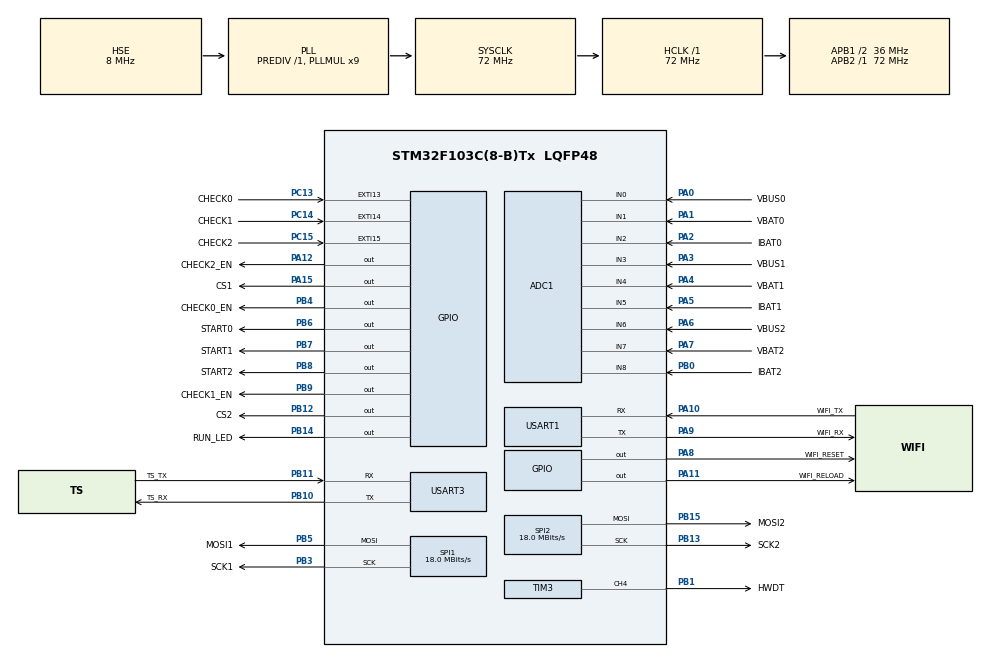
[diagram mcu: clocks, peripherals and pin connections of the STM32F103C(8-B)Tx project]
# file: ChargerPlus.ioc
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ADC1.Channel-10\#ChannelRegularConversion=ADC_CHANNEL_0
ADC1.Channel-11\#ChannelRegularConversion=ADC_CHANNEL_1
ADC1.Channel-12\#ChannelRegularConversion=ADC_CHANNEL_2
ADC1.Channel-13\#ChannelRegularConversion=ADC_CHANNEL_3
ADC1.Channel-14\#ChannelRegularConversion=ADC_CHANNEL_4
ADC1.Channel-15\#ChannelRegularConversion=ADC_CHANNEL_5
ADC1.Channel-16\#ChannelRegularConversion=ADC_CHANNEL_6
ADC1.Channel-17\#ChannelRegularConversion=ADC_CHANNEL_7
ADC1.Channel-18\#ChannelRegularConversion=ADC_CHANNEL_8
ADC1.ContinuousConvMode=ENABLE
ADC1.EnableRegularConversion=ENABLE
ADC1.NbrOfConversion=9
ADC1.NbrOfConversionFlag=1
ADC1.Rank-10\#ChannelRegularConversion=1
ADC1.Rank-11\#ChannelRegularConversion=2
ADC1.Rank-12\#ChannelRegularConversion=3
ADC1.Rank-13\#ChannelRegularConversion=4
ADC1.Rank-14\#ChannelRegularConversion=5
ADC1.Rank-15\#ChannelRegularConversion=6
ADC1.Rank-16\#ChannelRegularConversion=7
ADC1.Rank-17\#ChannelRegularConversion=8
ADC1.Rank-18\#ChannelRegularConversion=9
ADC1.SamplingTime-10\#ChannelRegularConversion=ADC_SAMPLETIME_28CYCLES_5
ADC1.SamplingTime-11\#ChannelRegularConversion=ADC_SAMPLETIME_55CYCLES_5
ADC1.SamplingTime-12\#ChannelRegularConversion=ADC_SAMPLETIME_55CYCLES_5
ADC1.SamplingTime-13\#ChannelRegularConversion=ADC_SAMPLETIME_28CYCLES_5
ADC1.SamplingTime-14\#ChannelRegularConversion=ADC_SAMPLETIME_55CYCLES_5
ADC1.SamplingTime-15\#ChannelRegularConversion=ADC_SAMPLETIME_55CYCLES_5
ADC1.SamplingTime-16\#ChannelRegularConversion=ADC_SAMPLETIME_28CYCLES_5
ADC1.SamplingTime-17\#ChannelRegularConversion=ADC_SAMPLETIME_55CYCLES_5
ADC1.SamplingTime-18\#ChannelRegularConversion=ADC_SAMPLETIME_55CYCLES_5
ADC1.master=1
Dma.ADC1.0.Direction=DMA_PERIPH_TO_MEMORY
Dma.ADC1.0.Instance=DMA1_Channel1
Dma.ADC1.0.MemDataAlignment=DMA_MDATAALIGN_WORD
Dma.ADC1.0.MemInc=DMA_MINC_ENABLE
Dma.ADC1.0.Mode=DMA_CIRCULAR
Dma.ADC1.0.PeriphDataAlignment=DMA_PDATAALIGN_WORD
Dma.ADC1.0.PeriphInc=DMA_PINC_DISABLE
Dma.ADC1.0.Priority=DMA_PRIORITY_VERY_HIGH
Dma.Request0=ADC1
FREERTOS.RecursiveMutexes01=shellMutex,Dynamic,NULL
FREERTOS.Tasks01=Led,-3,64,Run_Task,Default,NULL,Dynamic,NULL,NULL;Debug,-2,256,Debug_Task,Default,NULL,Dynamic,NULL,NULL;Charging,2,512,ChargingHandle_Task,Default,NULL,Dynamic,NULL,NULL;Sampling,3,512,Sampling_Task,Default,NULL,Dynamic,NULL,NULL
FREERTOS.Timers01=Report,Report_Callback,osTimerPeriodic,Default,NULL,Dynamic,NULL
FREERTOS.configMINIMAL_STACK_SIZE=64
FREERTOS.configTIMER_TASK_STACK_DEPTH=256
FREERTOS.configTOTAL_HEAP_SIZE=6144
FREERTOS.configUSE_MUTEXES=1
FREERTOS.configUSE_RECURSIVE_MUTEXES=1
FREERTOS.configUSE_TIMERS=1
Mcu.Family=STM32F1
Mcu.Name=STM32F103C(8-B)Tx
Mcu.Package=LQFP48
NVIC.DMA1_Channel1_IRQn=true\:1\:0\:true\:false\:true\:false\:false\:true
NVIC.EXTI15_10_IRQn=true\:4\:0\:true\:false\:true\:false\:true\:true
NVIC.PriorityGroup=NVIC_PRIORITYGROUP_4
NVIC.TIM1_UP_IRQn=true\:0\:0\:false\:false\:true\:false\:false\:true
NVIC.TimeBase=TIM1_UP_IRQn
NVIC.TimeBaseIP=TIM1
PA0-WKUP.GPIO_Label=VBUS0
PA0-WKUP.Signal=ADCx_IN0
PA1.GPIO_Label=VBAT0
PA1.Signal=ADCx_IN1
PA10.GPIO_Label=WIFI_TX
PA10.Mode=Asynchronous
PA10.Signal=USART1_RX
PA11.GPIO_Label=WIFI_RELOAD
PA11.GPIO_PuPd=GPIO_PULLUP
PA11.GPIO_Speed=GPIO_SPEED_FREQ_LOW
PA11.PinState=GPIO_PIN_SET
PA11.Signal=GPIO_Output
PA12.GPIO_Label=CHECK2_EN
PA12.GPIO_PuPd=GPIO_PULLDOWN
PA12.GPIO_Speed=GPIO_SPEED_FREQ_HIGH
PA12.PinState=GPIO_PIN_RESET
PA12.Signal=GPIO_Output
PA13.Mode=Serial_Wire
PA13.Signal=SYS_JTMS-SWDIO
PA14.Mode=Serial_Wire
PA14.Signal=SYS_JTCK-SWCLK
PA15.GPIO_Label=CS1
PA15.GPIO_PuPd=GPIO_PULLUP
PA15.GPIO_Speed=GPIO_SPEED_FREQ_HIGH
PA15.PinState=GPIO_PIN_SET
PA15.Signal=GPIO_Output
PA2.GPIO_Label=IBAT0
PA2.Signal=ADCx_IN2
PA3.GPIO_Label=VBUS1
PA3.Signal=ADCx_IN3
PA4.GPIO_Label=VBAT1
PA4.Signal=ADCx_IN4
PA5.GPIO_Label=IBAT1
PA5.Signal=ADCx_IN5
PA6.GPIO_Label=VBUS2
PA6.Signal=ADCx_IN6
PA7.GPIO_Label=VBAT2
PA7.Signal=ADCx_IN7
PA8.GPIO_Label=WIFI_RESET
PA8.GPIO_PuPd=GPIO_PULLUP
PA8.GPIO_Speed=GPIO_SPEED_FREQ_LOW
PA8.PinState=GPIO_PIN_SET
PA8.Signal=GPIO_Output
PA9.GPIO_Label=WIFI_RX
PA9.Mode=Asynchronous
PA9.Signal=USART1_TX
PB0.GPIO_Label=IBAT2
PB0.Signal=ADCx_IN8
PB1.GPIO_Label=HWDT
PB1.GPIO_Speed=GPIO_SPEED_FREQ_MEDIUM
PB1.Signal=S_TIM3_CH4
PB10.GPIO_Label=TS_RX
PB10.Mode=Asynchronous
PB10.Signal=USART3_TX
PB11.GPIO_Label=TS_TX
PB11.Mode=Asynchronous
PB11.Signal=USART3_RX
PB12.GPIO_Label=CS2
PB12.GPIO_PuPd=GPIO_PULLUP
PB12.GPIO_Speed=GPIO_SPEED_FREQ_HIGH
PB12.PinState=GPIO_PIN_SET
PB12.Signal=GPIO_Output
PB13.GPIO_Label=SCK2
PB13.Mode=TX_Only_Simplex_Unidirect_Master
PB13.Signal=SPI2_SCK
PB14.GPIO_Label=RUN_LED
PB14.PinState=GPIO_PIN_SET
PB14.Signal=GPIO_Output
PB15.GPIO_Label=MOSI2
PB15.Mode=TX_Only_Simplex_Unidirect_Master
PB15.Signal=SPI2_MOSI
PB3.GPIO_Label=SCK1
PB3.Mode=TX_Only_Simplex_Unidirect_Master
PB3.Signal=SPI1_SCK
PB4.GPIO_Label=CHECK0_EN
PB4.GPIO_PuPd=GPIO_PULLUP
PB4.GPIO_Speed=GPIO_SPEED_FREQ_HIGH
PB4.PinState=GPIO_PIN_RESET
PB4.Signal=GPIO_Output
PB5.GPIO_Label=MOSI1
PB5.Mode=TX_Only_Simplex_Unidirect_Master
PB5.Signal=SPI1_MOSI
PB6.GPIO_Label=START0
PB6.GPIO_PuPd=GPIO_PULLUP
PB6.GPIO_Speed=GPIO_SPEED_FREQ_HIGH
PB6.PinState=GPIO_PIN_SET
PB6.Signal=GPIO_Output
PB7.GPIO_Label=START1
PB7.GPIO_PuPd=GPIO_PULLUP
PB7.GPIO_Speed=GPIO_SPEED_FREQ_HIGH
PB7.PinState=GPIO_PIN_SET
PB7.Signal=GPIO_Output
PB8.GPIO_Label=START2
PB8.GPIO_PuPd=GPIO_PULLUP
PB8.GPIO_Speed=GPIO_SPEED_FREQ_HIGH
PB8.PinState=GPIO_PIN_SET
PB8.Signal=GPIO_Output
PB9.GPIO_Label=CHECK1_EN
PB9.GPIO_PuPd=GPIO_PULLUP
PB9.GPIO_Speed=GPIO_SPEED_FREQ_HIGH
PB9.PinState=GPIO_PIN_RESET
PB9.Signal=GPIO_Output
PC13-TAMPER-RTC.GPIO_Label=CHECK0
PC13-TAMPER-RTC.GPIO_ModeDefaultEXTI=GPIO_MODE_IT_FALLING
PC13-TAMPER-RTC.GPIO_PuPd=GPIO_PULLUP
PC13-TAMPER-RTC.Signal=GPXTI13
PC14-OSC32_IN.GPIO_Label=CHECK1
PC14-OSC32_IN.GPIO_ModeDefaultEXTI=GPIO_MODE_IT_FALLING
PC14-OSC32_IN.GPIO_PuPd=GPIO_PULLUP
PC14-OSC32_IN.Signal=GPXTI14
PC15-OSC32_OUT.GPIO_Label=CHECK2
PC15-OSC32_OUT.GPIO_ModeDefaultEXTI=GPIO_MODE_IT_FALLING
PC15-OSC32_OUT.GPIO_PuPd=GPIO_PULLUP
PC15-OSC32_OUT.Signal=GPXTI15
PD0-OSC_IN.Mode=HSE-External-Oscillator
PD0-OSC_IN.Signal=RCC_OSC_IN
PD1-OSC_OUT.Mode=HSE-External-Oscillator
PD1-OSC_OUT.Signal=RCC_OSC_OUT
ProjectManager.HeapSize=0x200
ProjectManager.StackSize=0x800
ProjectManager.TargetToolchain=MDK-ARM V5.27
RCC.ADCPresc=RCC_ADCPCLK2_DIV6
RCC.AHBFreq_Value=72000000
RCC.APB1CLKDivider=RCC_HCLK_DIV2
RCC.APB1Freq_Value=36000000
RCC.APB1TimFreq_Value=72000000
RCC.APB2Freq_Value=72000000
RCC.APB2TimFreq_Value=72000000
RCC.HCLKFreq_Value=72000000
RCC.PLLMUL=RCC_PLL_MUL9
RCC.PLLSourceVirtual=RCC_PLLSOURCE_HSE
RCC.SYSCLKFreq_VALUE=72000000
RCC.SYSCLKSource=RCC_SYSCLKSOURCE_PLLCLK
RCC.USBFreq_Value=72000000
SH.ADCx_IN0.0=ADC1_IN0,IN0
SH.ADCx_IN1.0=ADC1_IN1,IN1
SH.ADCx_IN2.0=ADC1_IN2,IN2
SH.ADCx_IN3.0=ADC1_IN3,IN3
SH.ADCx_IN4.0=ADC1_IN4,IN4
SH.ADCx_IN5.0=ADC1_IN5,IN5
SH.ADCx_IN6.0=ADC1_IN6,IN6
SH.ADCx_IN7.0=ADC1_IN7,IN7
SH.ADCx_IN8.0=ADC1_IN8,IN8
SH.S_TIM3_CH4.0=TIM3_CH4,PWM Generation4 CH4
SPI1.BaudRatePrescaler=SPI_BAUDRATEPRESCALER_4
SPI1.CLKPolarity=SPI_POLARITY_LOW
SPI1.CRCCalculation=SPI_CRCCALCULATION_DISABLE
SPI1.CalculateBaudRate=18.0 MBits/s
SPI1.DataSize=SPI_DATASIZE_16BIT
SPI1.Direction=SPI_DIRECTION_2LINES
SPI1.Mode=SPI_MODE_MASTER
SPI1.VirtualType=VM_MASTER
SPI2.CRCCalculation=SPI_CRCCALCULATION_DISABLE
SPI2.CalculateBaudRate=18.0 MBits/s
SPI2.DataSize=SPI_DATASIZE_16BIT
SPI2.Direction=SPI_DIRECTION_2LINES
SPI2.Mode=SPI_MODE_MASTER
SPI2.VirtualType=VM_MASTER
TIM3.AutoReloadPreload=TIM_AUTORELOAD_PRELOAD_ENABLE
TIM3.Channel-PWM\ Generation4\ CH4=TIM_CHANNEL_4
TIM3.Period=10000
TIM3.Prescaler=7200-1
TIM3.Pulse-PWM\ Generation4\ CH4=5000
USART1.VirtualMode=VM_ASYNC
USART3.VirtualMode=VM_ASYNC
VP_FREERTOS_VS_CMSIS_V1.Mode=CMSIS_V1
VP_SYS_VS_tim1.Mode=TIM1
VP_TIM3_VS_ClockSourceINT.Mode=Internal
board=custom

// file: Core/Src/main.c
/* USER CODE BEGIN Header */
/**
  ******************************************************************************
  * @file           : main.c
  * @brief          : Main program body
  ******************************************************************************
  * @attention
  *
  * <h2><center>&copy; Copyright (c) 2022 STMicroelectronics.
  * All rights reserved.</center></h2>
  *
  * This software component is licensed by ST under BSD 3-Clause license,
  * the "License"; You may not use this file except in compliance with the
  * License. You may obtain a copy of the License at:
  *                        opensource.org/licenses/BSD-3-Clause
  *
  ******************************************************************************
  */
/* USER CODE END Header */
#include "main.h"
#include "cmsis_os.h"
#include "adc.h"
#include "dma.h"
#include "spi.h"
#include "tim.h"
#include "usart.h"
#include "gpio.h"

/* USER CODE BEGIN Includes */
#include "Mcp4822.h"
#include "clibration.h"
#include "shell_port.h"
/* USER CODE END Includes */

void SystemClock_Config(void);
void MX_FREERTOS_Init(void);

int main(void)
{
  uint16_t Crc = 0x0000;
  /* MCU Configuration--------------------------------------------------------*/

  /* Reset of all peripherals, Initializes the Flash interface and the Systick. */
  HAL_Init();

  /* Configure the system clock */
  SystemClock_Config();

  /* Initialize all configured peripherals */
  MX_GPIO_Init();
  MX_DMA_Init();
  MX_ADC1_Init();
  MX_USART3_UART_Init();
  MX_SPI1_Init();
  MX_SPI2_Init();
  MX_TIM3_Init();
  MX_USART1_UART_Init();
  /* USER CODE BEGIN 2 */
  /*Start ADC DMA conversion*/
  HAL_ADC_Start_DMA(&hadc1, Adc_DmaBuffer, ADC_DMA_SIZE);
  /*Feed the dog using the timer channel 3 to watch the dog*/
  HAL_TIM_PWM_Start(&htim3, TIM_CHANNEL_4);
  /*output REF*/
  Output_Ref();
#if (DEBUGGING == 1U)
  User_Shell_Init();
#endif
  /*Flash initialization*/
  FLASH_Init();
  /*Check whether ADC and DAC are calibrated*/
  FLASH_Read(ADC_CLIBRATION_SAVE_ADDR, (uint16_t *)&Adc.DAC_Out, sizeof(Adc) - sizeof(Adc.Yx) * 4U);
  FLASH_Read(DAC_CLIBRATION_SAVE_ADDR, (uint16_t *)&Dac, sizeof(Dac));
#if (DEBUGGING == 1U)
#if (USING_CRC)
  Crc = Get_Crc16((uint8_t *)&Adc.DAC_Out, sizeof(Adc) - sizeof(Adc.Yx) * 4U - sizeof(float), 0xFFFF);
  if (Crc == Adc.Crc16)
#else
  if (Adc.Finish_Flag != SURE_CODE)
#endif
  {
    shellPrint(&shell, "\r\nNote: ADC not calibrated !\r\n");
  }
#if (USING_CRC)
  Crc = Get_Crc16((uint8_t *)&Dac, sizeof(Dac) - sizeof(float), 0xFFFF);
  if (Crc == Dac.Crc16)
#else
  if (Dac.Finish_Flag != SURE_CODE)
#endif
  {
    shellPrint(&shell, "Note: Dac not calibrated !\r\n");
  }
#endif
  /* USER CODE END 2 */

  /* Call init function for freertos objects (in freertos.c) */
  MX_FREERTOS_Init();
  /* Start scheduler */
  osKernelStart();

  /* We should never get here as control is now taken by the scheduler */
  /* Infinite loop */
  while (1)
  {

  }
}

void SystemClock_Config(void)
{
  RCC_OscInitTypeDef RCC_OscInitStruct = {0};
  RCC_ClkInitTypeDef RCC_ClkInitStruct = {0};
  RCC_PeriphCLKInitTypeDef PeriphClkInit = {0};

  /** Initializes the RCC Oscillators according to the specified parameters
  * in the RCC_OscInitTypeDef structure.
  */
  RCC_OscInitStruct.OscillatorType = RCC_OSCILLATORTYPE_HSE;
  RCC_OscInitStruct.HSEState = RCC_HSE_ON;
  RCC_OscInitStruct.HSEPredivValue = RCC_HSE_PREDIV_DIV1;
  RCC_OscInitStruct.HSIState = RCC_HSI_ON;
  RCC_OscInitStruct.PLL.PLLState = RCC_PLL_ON;
  RCC_OscInitStruct.PLL.PLLSource = RCC_PLLSOURCE_HSE;
  RCC_OscInitStruct.PLL.PLLMUL = RCC_PLL_MUL9;
  if (HAL_RCC_OscConfig(&RCC_OscInitStruct) != HAL_OK)
  {
    Error_Handler();
  }
  /** Initializes the CPU, AHB and APB buses clocks
  */
  RCC_ClkInitStruct.ClockType = RCC_CLOCKTYPE_HCLK|RCC_CLOCKTYPE_SYSCLK
                              |RCC_CLOCKTYPE_PCLK1|RCC_CLOCKTYPE_PCLK2;
  RCC_ClkInitStruct.SYSCLKSource = RCC_SYSCLKSOURCE_PLLCLK;
  RCC_ClkInitStruct.AHBCLKDivider = RCC_SYSCLK_DIV1;
  RCC_ClkInitStruct.APB1CLKDivider = RCC_HCLK_DIV2;
  RCC_ClkInitStruct.APB2CLKDivider = RCC_HCLK_DIV1;

  if (HAL_RCC_ClockConfig(&RCC_ClkInitStruct, FLASH_LATENCY_2) != HAL_OK)
  {
    Error_Handler();
  }
  PeriphClkInit.PeriphClockSelection = RCC_PERIPHCLK_ADC;
  PeriphClkInit.AdcClockSelection = RCC_ADCPCLK2_DIV6;
  if (HAL_RCCEx_PeriphCLKConfig(&PeriphClkInit) != HAL_OK)
  {
    Error_Handler();
  }
}

 /**
  * @brief  Period elapsed callback in non blocking mode
  * @note   This function is called  when TIM1 interrupt took place, inside
  * HAL_TIM_IRQHandler(). It makes a direct call to HAL_IncTick() to increment
  * a global variable "uwTick" used as application time base.
  * @param  htim : TIM handle
  * @retval None
  */
void HAL_TIM_PeriodElapsedCallback(TIM_HandleTypeDef *htim)
{
  if (htim->Instance == TIM1) {
    HAL_IncTick();
  }
}

void Error_Handler(void)
{
  __disable_irq();
  while (1)
  {
  }
}

/************************ (C) COPYRIGHT STMicroelectronics *****END OF FILE****/

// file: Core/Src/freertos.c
/* USER CODE BEGIN Header */
/**
  ******************************************************************************
  * File Name          : freertos.c
  * Description        : Code for freertos applications
  ******************************************************************************
  * @attention
  *
  * <h2><center>&copy; Copyright (c) 2022 STMicroelectronics.
  * All rights reserved.</center></h2>
  *
  * This software component is licensed by ST under Ultimate Liberty license
  * SLA0044, the "License"; You may not use this file except in compliance with
  * the License. You may obtain a copy of the License at:
  *                             www.st.com/SLA0044
  *
  ******************************************************************************
  */
/* USER CODE END Header */

#include "FreeRTOS.h"
#include "task.h"
#include "main.h"
#include "cmsis_os.h"

/* USER CODE BEGIN Includes */
#include "charger.h"
#include "spi.h"
#include "Mcp4822.h"
#include "adc.h"
#include "usart.h"
#include "shell.h"
#include "shell_port.h"
/* USER CODE END Includes */

/* USER CODE BEGIN PTD */
GPIO_PinState g_Status =  GPIO_PIN_SET;
/* USER CODE END PTD */

osThreadId LedHandle;
osThreadId DebugHandle;
osThreadId ChargingHandle;
osThreadId SamplingHandle;
osTimerId ReportHandle;
osMutexId shellMutexHandle;

void Run_Task(void const * argument);
void Debug_Task(void const * argument);
void ChargingHandle_Task(void const * argument);
void Sampling_Task(void const * argument);
void Report_Callback(void const * argument);

void MX_FREERTOS_Init(void); /* (MISRA C 2004 rule 8.1) */

/* GetIdleTaskMemory prototype (linked to static allocation support) */
void vApplicationGetIdleTaskMemory( StaticTask_t **ppxIdleTaskTCBBuffer, StackType_t **ppxIdleTaskStackBuffer, uint32_t *pulIdleTaskStackSize );

/* GetTimerTaskMemory prototype (linked to static allocation support) */
void vApplicationGetTimerTaskMemory( StaticTask_t **ppxTimerTaskTCBBuffer, StackType_t **ppxTimerTaskStackBuffer, uint32_t *pulTimerTaskStackSize );

/* USER CODE BEGIN GET_IDLE_TASK_MEMORY */
static StaticTask_t xIdleTaskTCBBuffer;
static StackType_t xIdleStack[configMINIMAL_STACK_SIZE];

void vApplicationGetIdleTaskMemory( StaticTask_t **ppxIdleTaskTCBBuffer, StackType_t **ppxIdleTaskStackBuffer, uint32_t *pulIdleTaskStackSize )
{
  *ppxIdleTaskTCBBuffer = &xIdleTaskTCBBuffer;
  *ppxIdleTaskStackBuffer = &xIdleStack[0];
  *pulIdleTaskStackSize = configMINIMAL_STACK_SIZE;
  /* place for user code */
}
/* USER CODE END GET_IDLE_TASK_MEMORY */

/* USER CODE BEGIN GET_TIMER_TASK_MEMORY */
static StaticTask_t xTimerTaskTCBBuffer;
static StackType_t xTimerStack[configTIMER_TASK_STACK_DEPTH];

void vApplicationGetTimerTaskMemory( StaticTask_t **ppxTimerTaskTCBBuffer, StackType_t **ppxTimerTaskStackBuffer, uint32_t *pulTimerTaskStackSize )
{
  *ppxTimerTaskTCBBuffer = &xTimerTaskTCBBuffer;
  *ppxTimerTaskStackBuffer = &xTimerStack[0];
  *pulTimerTaskStackSize = configTIMER_TASK_STACK_DEPTH;
  /* place for user code */
}
/* USER CODE END GET_TIMER_TASK_MEMORY */

void MX_FREERTOS_Init(void) {

  /* Create the recursive mutex(es) */
  /* definition and creation of shellMutex */
  osMutexDef(shellMutex);
  shellMutexHandle = osRecursiveMutexCreate(osMutex(shellMutex));

  /* Create the timer(s) */
  /* definition and creation of Report */
  osTimerDef(Report, Report_Callback);
  ReportHandle = osTimerCreate(osTimer(Report), osTimerPeriodic, NULL);

  /* Create the thread(s) */
  /* definition and creation of Led */
  osThreadDef(Led, Run_Task, osPriorityIdle, 0, 64);
  LedHandle = osThreadCreate(osThread(Led), NULL);

  /* definition and creation of Debug */
  osThreadDef(Debug, Debug_Task, osPriorityLow, 0, 256);
  DebugHandle = osThreadCreate(osThread(Debug), NULL);

  /* definition and creation of Charging */
  osThreadDef(Charging, ChargingHandle_Task, osPriorityHigh, 0, 512);
  ChargingHandle = osThreadCreate(osThread(Charging), NULL);

  /* definition and creation of Sampling */
  osThreadDef(Sampling, Sampling_Task, osPriorityRealtime, 0, 512);
  SamplingHandle = osThreadCreate(osThread(Sampling), NULL);

  /* USER CODE BEGIN RTOS_THREADS */
  osTimerStart(ReportHandle, 1000);
  /* add threads, ... */
  /* USER CODE END RTOS_THREADS */

}

void Run_Task(void const * argument)
{
  /* USER CODE BEGIN Run_Task */

  /* Infinite loop */
  for(;;)
  { /*Turn on the software timer*/
    g_Status ^=  GPIO_PIN_SET;
    HAL_GPIO_WritePin(RUN_LED_GPIO_Port, RUN_LED_Pin, g_Status);
    osDelay(1000);
  }
  /* USER CODE END Run_Task */
}

void Debug_Task(void const * argument)
{
  /* USER CODE BEGIN Debug_Task */
  /* Infinite loop */
  for(;;)
  {
#if (DEBUGGING == 1U)
    /*Call shell task*/
    shellTask(&shell);
#else
  osDelay(100);
#endif
  }
  /* USER CODE END Debug_Task */
}

void ChargingHandle_Task(void const * argument)
{
  /* USER CODE BEGIN ChargingHandle_Task */
  /* Infinite loop */
  for(;;)
  {
    for (uint16_t i = 0; i < CHANNEL_MAX; i++)
    {
      Charging_Poll(&g_Charger[i]);
    }
    osDelay(500);
  }
  /* USER CODE END ChargingHandle_Task */
}

void Sampling_Task(void const * argument)
{
  /* USER CODE BEGIN Sampling_Task */
  /* Infinite loop */
  for(;;)
  {
    for (uint16_t i = 0; i < CHANNEL_MAX; i++)
    {
      Charging_Sampling(&g_Charger[i]);
    }
    osDelay(50);
  }
  /* USER CODE END Sampling_Task */
}

/* Report_Callback function */
void Report_Callback(void const * argument)
{
  /* USER CODE BEGIN Report_Callback */
  // g_Status ^=  GPIO_PIN_SET;
  // HAL_GPIO_WritePin(RUN_LED_GPIO_Port, RUN_LED_Pin, g_Status);
  for (uint16_t i = 0; i < CHANNEL_MAX; i++)
  {
   Report_ChargerInfo(&g_Charger[i]);
  }
  /* USER CODE END Report_Callback */
}

/************************ (C) COPYRIGHT STMicroelectronics *****END OF FILE****/
